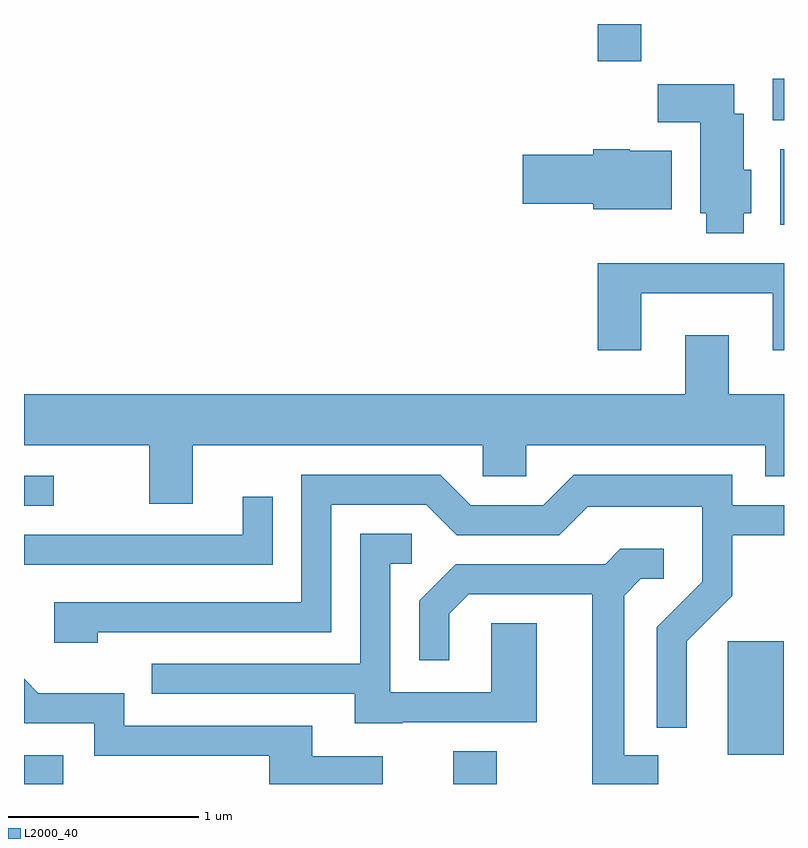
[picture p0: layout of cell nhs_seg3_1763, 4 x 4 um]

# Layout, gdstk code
import gdstk
lib = gdstk.Library(unit=1e-6, precision=1e-09)
def R(c, l, rs):  # rectangles x0, y0, x1, y1
    for r in rs: c.add(gdstk.rectangle(r[:2], r[2:], *l))
def P(c, l, *ps):  # polygons
    for p in ps: c.add(gdstk.Polygon(p, *l))
L2000_40 = (2000, 40)

nhs_seg3_1763 = lib.new_cell('nhs_seg3_1763')
R(nhs_seg3_1763, L2000_40, [(235.611,1241.892,235.818,1242.044), (237.871,1241.892,238.099,1242.064), (239.316,1242.046,239.609,1242.644), (235.611,1243.356,235.768,1243.514), (239.591,1244.836,239.611,1245.234), (239.551,1245.386,239.611,1245.604), (238.631,1245.696,238.859,1245.892)])
P(nhs_seg3_1763, L2000_40, [(239.399,1244.896),(239.439,1244.896),(239.439,1245.124),(239.399,1245.124),(239.399,1245.419),(239.349,1245.419),(239.349,1245.574),(238.946,1245.574),(238.946,1245.376),(239.171,1245.376),(239.171,1244.896),(239.201,1244.896),(239.201,1244.791),(239.399,1244.791)],
  [(239.019,1245.224),(238.8,1245.224),(238.8,1245.234),(238.606,1245.234),(238.606,1245.204),(238.236,1245.204),(238.236,1244.946),(238.606,1244.946),(238.606,1244.916),(239.019,1244.916)],
  [(238.859,1244.476),(239.551,1244.476),(239.551,1244.176),(239.611,1244.176),(239.611,1244.634),(238.631,1244.634),(238.631,1244.176),(238.859,1244.176)],
  [(236.499,1243.676),(238.026,1243.676),(238.026,1243.511),(238.254,1243.511),(238.254,1243.676),(239.511,1243.676),(239.511,1243.511),(239.611,1243.511),(239.611,1243.944),(239.319,1243.944),(239.319,1244.254),(239.091,1244.254),(239.091,1243.944),(235.611,1243.944),(235.611,1243.676),(236.271,1243.676),(236.271,1243.366),(236.499,1243.366)],
  [(239.099,1242.644),(239.339,1242.884),(239.339,1243.201),(239.611,1243.201),(239.611,1243.359),(239.339,1243.359),(239.339,1243.519),(238.504,1243.519),(238.344,1243.359),(237.962,1243.359),(237.802,1243.519),(237.071,1243.519),(237.071,1242.849),(235.771,1242.849),(235.771,1242.636),(235.999,1242.636),(235.999,1242.691),(237.229,1242.691),(237.229,1243.361),(237.729,1243.361),(237.889,1243.201),(238.427,1243.201),(238.577,1243.351),(239.181,1243.351),(239.181,1242.957),(238.941,1242.717),(238.941,1242.188),(239.099,1242.188)],
  [(236.919,1243.403),(236.761,1243.403),(236.761,1243.204),(235.611,1243.204),(235.611,1243.046),(236.919,1243.046)],
  [(237.605,1242.216),(238.309,1242.216),(238.309,1242.739),(238.071,1242.739),(238.071,1242.374),(237.539,1242.374),(237.539,1243.051),(237.653,1243.051),(237.653,1243.209),(237.381,1243.209),(237.381,1242.524),(236.283,1242.524),(236.283,1242.366),(237.351,1242.366),(237.351,1242.211),(237.605,1242.211)],
  [(238.948,1242.044),(238.769,1242.044),(238.769,1242.884),(238.857,1242.971),(238.978,1242.971),(238.978,1243.129),(238.749,1243.129),(238.669,1243.049),(237.884,1243.049),(237.691,1242.857),(237.691,1242.543),(237.849,1242.543),(237.849,1242.789),(237.952,1242.891),(238.601,1242.891),(238.601,1241.892),(238.948,1241.892)],
  [(237.498,1242.039),(237.129,1242.039),(237.129,1242.199),(236.139,1242.199),(236.139,1242.369),(235.687,1242.369),(235.611,1242.445),(235.611,1242.211),(235.981,1242.211),(235.981,1242.041),(236.901,1242.041),(236.901,1241.892),(237.498,1241.892)])

lib.write_gds('nhs_seg3_1763.gds')
